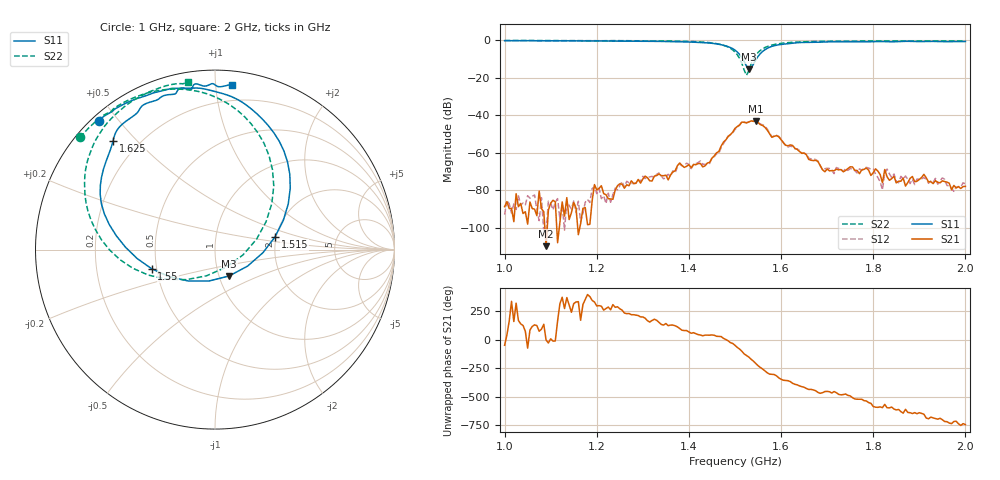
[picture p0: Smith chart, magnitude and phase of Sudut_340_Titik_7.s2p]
# Hz S RI R 50
! CMT, C1220, 16058040, 17.2.0/1
! Date: 14/08/2018 12:17:14
! Data: Format (Calibration Info)
! Freq  S11: Re/Im (F2)  S21: Re/Im (F2)  S12: Re/Im (F2)  S22: Re/Im (F2)
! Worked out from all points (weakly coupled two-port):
!   201 points, 1 GHz to 2 GHz, reference 50 ohm
!   highest |S21| = -42.97 dB at 1.545 GHz (marker M1); lowest = -109.6 dB at 1.09 GHz (marker M2)
!   lowest |S11| = -15.6 dB at 1.53 GHz (marker M3), VSWR 1.40, Z = 55.8 - j16.9 ohm
!   |S11| at or under -10 dB: 1.517 GHz to 1.546 GHz (29.94 MHz wide, 1.95 % of centre)
!   |S22| runs from -18.7 to -0.2 dB; largest |S21 - S12| = 0.00033
!   S11 on the Smith chart (normalised r, x): 1 GHz: 0.02, +0.44; 1.515 GHz: 1.97, +0.31; 1.55 GHz: 0.47, -0.12; 1.625 GHz: 0.11, +0.43; 2 GHz: 0.09, +1.11
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1e9  -0.6487 0.7145  2.48e-05 -2.76e-05  1.71e-05 -1.51e-05  -0.7536 0.6247
1.09e9  -0.5632 0.7792  3.29e-06 -1.32e-07  6.86e-06 3.55e-06  -0.6886 0.6918
1.17e9  -0.4807 0.8232  2.22e-05 -2.51e-05  1.91e-05 1.54e-05  -0.6171 0.7504
1.335e9  -0.2228 0.8982  -0.000248 0.000121  -0.000241 0.000164  -0.4008 0.8651
1.355e9  -0.1652 0.8988  -0.000108 0.000158  -0.000181 0.0002  -0.3568 0.8778
1.445e9  0.1518 0.8211  0.000421 0.000366  0.00037 0.000364  -0.00922 0.8547
1.5e9  0.4193 0.3419  0.00296 -0.00336  0.00277 -0.00315  0.3275 0.3544
1.515e9  0.3338 0.0699  -0.00131 -0.00647  -0.00113 -0.00656  0.2315 0.0578
1.53e9  0.0784 -0.1471  -0.00586 -0.00311  -0.0059 -0.00318  -0.0474 -0.1461
1.545e9  -0.255 -0.151  -0.00626 0.00337  -0.00622 0.00318  -0.3707 -0.1423
1.55e9  -0.3523 -0.1073  -0.00431 0.00476  -0.00451 0.0046  -0.4579 -0.104
1.625e9  -0.5682 0.6035  0.00145 -0.000627  0.00136 -0.000504  -0.7021 0.5208
1.67e9  -0.4493 0.7483  8.87e-05 -0.000615  0.000126 -0.000696  -0.6258 0.6724
1.715e9  -0.3664 0.8202  -3.34e-05 -0.000332  -7.06e-05 -0.000271  -0.5507 0.757
1.8e9  -0.2088 0.8865  -0.0002 0.000219  -0.00032 0.000186  -0.4247 0.8488
1.82e9  -0.1777 0.8988  -8.68e-05 0.000136  -3.71e-05 9.74e-05  -0.3971 0.8636
1.825e9  -0.166 0.8969  -0.000315 0.000175  -0.000246 0.000157  -0.3905 0.8667
1.835e9  -0.1444 0.8918  -9.51e-05 0.000161  -0.000101 0.00026  -0.3773 0.8734
1.87e9  -0.1131 0.9221  -3.97e-05 0.000125  -2.87e-05 0.000241  -0.3287 0.8938
1.91e9  -0.0389 0.9151  0.000117 0.000241  0.000128 0.000176  -0.2727 0.9127
1.975e9  0.0613 0.9132  0.000136 1.4e-06  9.41e-05 -9.47e-06  -0.1804 0.924
2e9  0.0955 0.9143  0.000115 -5.78e-05  0.00014 -5.11e-05  -0.1529 0.9329
